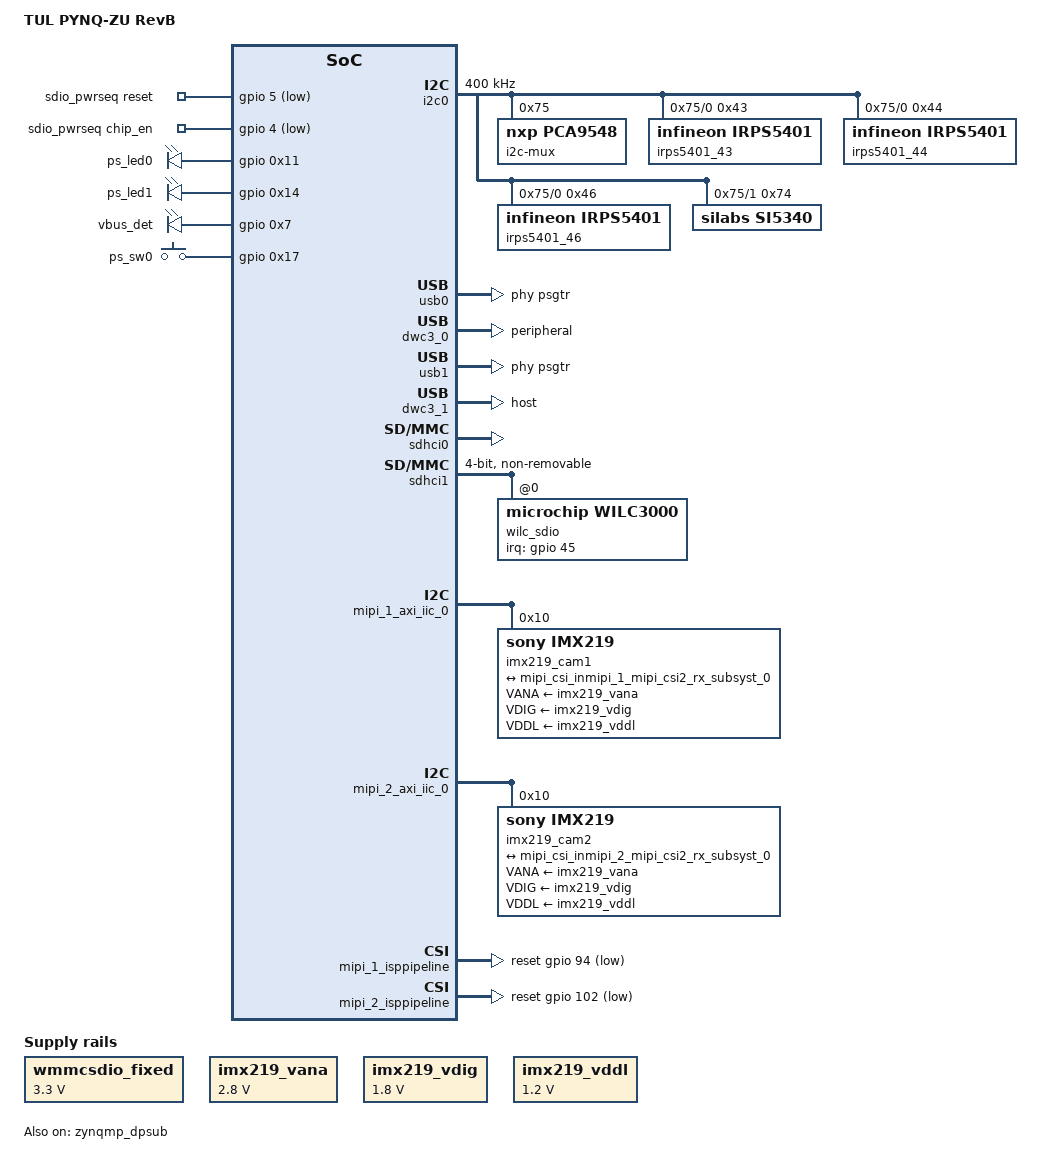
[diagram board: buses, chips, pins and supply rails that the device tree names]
// Copyright (C) 2021 Xilinx, Inc
// SPDX-License-Identifier: BSD-3-Clause

/include/ "system-conf.dtsi"
#include <dt-bindings/phy/phy.h>

/ {
	model = "TUL PYNQ-ZU RevB";

	reserved-memory {
		#address-cells = <2>;
		#size-cells = <2>;
		ranges;

		linux,cma {
			linux,cma-default;
			compatible = "shared-dma-pool";
			alloc-ranges = <0x0 0x0 0x0 0x7ff00000>;
			size = <0x0 0x20000000>;
			alignment = <0x0 0x2000>;
			reusable;
		};
	};

	wmmcsdio_fixed:fixedregulator-mmcsdio {
		compatible = "regulator-fixed";
		regulator-name = "wmmcsdio_fixed";
		regulator-min-microvolt = <3300000>;
		regulator-max-microvolt = <3300000>;
		regulator-always-on;
		regulator-boot-on;
	};

	sdio_pwrseq: sdio_pwrseq {
		compatible = "mmc-pwrseq-simple";
		// MIO[5] RESETN for WILC3000 active low
		reset-gpios = <&gpio 5 1>;
		// requires a patched pwrseq_simple.c for WILC3000
		chip_en-gpios = <&gpio 4 1>;
		post-power-on-delay-ms = <10>;
	};

	leds {
		compatible = "gpio-leds";

		ps_led0 {
			label = "ps_led0";
			gpios = <&gpio 0x11 0x0>;
			linux,default-trigger = "heartbeat";
		};

		ps_led1 {
			label = "ps_led1";
			gpios = <&gpio 0x14 0x0>;
			default-state = "on";
		};

		vbus_det {
			label = "vbus_det";
			gpios = <&gpio 0x7 0x0>;
			default-state = "on";
		};

	};

	gpio-keys {
		compatible = "gpio-keys";
		autorepeat;

		ps_sw0 {
			label = "ps_sw0";
			gpios = <&gpio 0x17 0x0>;
			linux,code = <0x74>;
			gpio-key,wakeup;
		};
	};

	dp_clk: psgtr_dp_clock {
		compatible = "fixed-clock";
		#clock-cells = <0x00>;
		clock-frequency = <27000000>;
	};

	usb_clk: psgtr_usb_clock {
		compatible = "fixed-clock";
		#clock-cells = <0x00>;
		clock-frequency = <26000000>;
	};

	dp_aclk: dp_aclk {
		compatible = "fixed-clock";
		#clock-cells = <0>;
		clock-frequency = <100000000>;
		clock-accuracy = <100>;
	};
	
	/* Repairing misc_clks as per Article number 000036480 */
	/delete-node/ misc_clk_0;
	misc_clk_0: misc_clk_0 {
		#clock-cells = <0>;
		clock-frequency = <99999000>;
		compatible = "fixed-clock";
	};

	/delete-node/ misc_clk_1;
	misc_clk_1: misc_clk_1 {
		#clock-cells = <0>;
		clock-frequency = <249997500>;
		compatible = "fixed-clock";
	};

	/delete-node/ misc_clk_2;
	misc_clk_2: misc_clk_2 {
		#clock-cells = <0>;
		clock-frequency = <199998000>;
		compatible = "fixed-clock";
	};
};

&i2c0 {
	status = "okay";
	clock-frequency = <400000>;

	i2c-mux@75 {
		compatible = "nxp,pca9548";
		#address-cells = <1>;
		#size-cells = <0>;
		reg = <0x75>;

		i2c@0 {
			#address-cells = <0x1>;
			#size-cells = <0x0>;
			reg = <0x0>;

			irps5401_43: irps5401@43 {
				#clock-cells = <0x0>;
				compatible = "infineon,irps5401";
				reg = <0x43>;
			};

			irps5401_44: irps5401@44 {
				#clock-cells = <0x0>;
				compatible = "infineon,irps5401";
				reg = <0x44>;
			};

			irps5401_46: irps5401@46 {
				#clock-cells = <0x0>;
				compatible = "infineon,irps5401";
				reg = <0x46>;
			};
		};

		i2c@1 {
			#address-cells = <0x1>;
			#size-cells = <0x0>;
			reg = <0x1>;
			si5340: clock-generator@74 {
				compatible = "silabs,si5340";
				reg = <0x74>;
			};
		};

		i2c@2 {
			#address-cells = <0x1>;
			#size-cells = <0x0>;
			reg = <0x2>;
			label = "AUDIO";
		};

		i2c@3 {
			#address-cells = <0x1>;
			#size-cells = <0x0>;
			reg = <0x3>;
			label = "RPICAM";
		};

		i2c@4 {
			#address-cells = <0x1>;
			#size-cells = <0x0>;
			reg = <0x4>;
			label = "SYZYGY";
		};

		i2c@5 {
			#address-cells = <0x1>;
			#size-cells = <0x0>;
			reg = <0x5>;
			label = "FMC";
		};

		i2c@6 {
			#address-cells = <0x1>;
			#size-cells = <0x0>;
			reg = <0x6>;
			label = "USB";
		};
	};
};

&psgtr {
	/* usb3, dp */
	#clock-cells = <0x01>;
	clocks = <&usb_clk>, <&dp_clk>;
	clock-names = "ref0", "ref1";
};

&usb0 {
	/* USB Gadget*/
	status = "okay";
	phys = <&psgtr 2 PHY_TYPE_USB3 0 0>;
	phy-names = "usb3-phy";
};

&dwc3_0 {
	status = "okay";
	dr_mode = "peripheral";
	label = "USB Gadget";
	maximum-speed = "super-speed";
	snps,usb2-lpm-disable;
	snps,usb3_lpm_capable;
	snps,dis_u2_susphy_quirk;
	snps,dis_u3_susphy_quirk;
};

&usb1 {
	// USB Hub
	status = "okay";
	phys = <&psgtr 3 PHY_TYPE_USB3 1 0>;
	phy-names = "usb3-phy";
};

&dwc3_1 {
	status = "okay";
	dr_mode = "host";
	label = "USB Hub";
	maximum-speed = "super-speed";
	snps,usb2-lpm-disable;
	snps,usb3_lpm_capable;
	snps,dis_u2_susphy_quirk;
	snps,dis_u3_susphy_quirk;
};

&sdhci0 {
	status = "okay";
	disable-wp;
	no-1-8-v;
};

&sdhci1 {
	status = "okay";
	max-frequency = <50000000>;
	broken-mmc-highspeed;
	disable-wp;
	non-removable;
	bus-width = <0x4>;
	mmc-pwrseq = <&sdio_pwrseq>;
	vqmmc-supply = <&wmmcsdio_fixed>;
	#address-cells = <0x1>;
	#size-cells = <0x0>;
	wilc_sdio@1 {
			compatible = "microchip,wilc3000";
			status = "okay";
			bus-width = <0x4>;
			reg = <0x0>;
			irq-gpios = <&gpio 45 0>;
		};
};

&zynqmp_dpsub {
    status = "okay";
    clocks = <&dp_aclk>,<&zynqmp_clk DP_AUDIO_REF>,<&zynqmp_clk DP_VIDEO_REF>,<&display_pipeline_clk_wiz_0 0>;
    clock-names = "dp_apb_clk", "dp_aud_clk","dp_vtc_pixel_clk_in","dp_live_video_in_clk";
    xlnx,bridge = <&display_pipeline_v_tc_0>;

    dp_port: port@0 {
        reg = <0>;
        dp_encoder: endpoint {
            remote-endpoint = <&mixer_crtcdisplay_pipeline_v_mix_0>;
        };
    };
};

&amba_pl {
	imx219_clk: imx219_clk {
		#clock-cells = <0x0>;
		clock-frequency = <24000000>;
		compatible = "fixed-clock";
	};

	imx219_vana: fixedregulator@3 {
		compatible = "regulator-fixed";
		regulator-name = "imx219_vana";
		regulator-min-microvolt = <2800000>;
		regulator-max-microvolt = <2800000>;
		enable-active-high;
	};

	imx219_vdig: fixedregulator@4 {
		compatible = "regulator-fixed";
		regulator-name = "imx219_vdig";
		regulator-min-microvolt = <1800000>;
		regulator-max-microvolt = <1800000>;
	};

	imx219_vddl: fixedregulator@5 {
		compatible = "regulator-fixed";
		regulator-name = "imx219_vddl";
		regulator-min-microvolt = <1200000>;
		regulator-max-microvolt = <1200000>;
	};
};

&mipi_1_axi_iic_0 {
	imx219_cam1: sensor@10 {
		compatible = "sony,imx219";
		reg = <0x10>;
		clocks = <&imx219_clk>;
		VANA-supply = <&imx219_vana>;   /* 2.8v */
		VDIG-supply = <&imx219_vdig>;   /* 1.8v */
		VDDL-supply = <&imx219_vddl>;   /* 1.2v */

		port {
		     imx219_cam1_0: endpoint {
			remote-endpoint = <&mipi_csi_inmipi_1_mipi_csi2_rx_subsyst_0>;
			data-lanes = <1 2>;
			link-frequencies = /bits/ 64 <456000000>;
			};
		};
	};
};

&mipi_2_axi_iic_0 {
	imx219_cam2: sensor@10 {
		compatible = "sony,imx219";
		reg = <0x10>;
		clocks = <&imx219_clk>;
		VANA-supply = <&imx219_vana>;   /* 2.8v */
		VDIG-supply = <&imx219_vdig>;   /* 1.8v */
		VDDL-supply = <&imx219_vddl>;   /* 1.2v */

		port {
		     imx219_cam2_0: endpoint {
			remote-endpoint = <&mipi_csi_inmipi_2_mipi_csi2_rx_subsyst_0>;
			data-lanes = <1 2>;
			link-frequencies = /bits/ 64 <456000000>;
			};
		};
	};
};

&mipi_1_mipi_csi2_rx_subsyst_0 {
	xlnx,en-active-lanes;
};

&mipi_2_mipi_csi2_rx_subsyst_0 {
	xlnx,en-active-lanes;
};

&mipi_csi_inmipi_1_mipi_csi2_rx_subsyst_0 {
	remote-endpoint = <&imx219_cam1_0>;
};

&mipi_csi_inmipi_2_mipi_csi2_rx_subsyst_0 {
	remote-endpoint = <&imx219_cam2_0>;
};

&mipi_1_isppipeline {
	reset-gpios = <&gpio 94 1>;
	xlnx,max-height = /bits/ 16 <1232>;
	xlnx,max-width = /bits/ 16 <1920>;
	xlnx,rgain = /bits/ 16 <128>;
	xlnx,bgain = /bits/ 16 <210>;
	xlnx,pawb = /bits/ 16 <350>;
	xlnx,mode-reg = <1>;
};

&isppipeline_port0mipi_1_isppipeline {
	xlnx,video-width = <10>;
	xlnx,cfa-pattern = "rggb";
};

&isppipeline_port1mipi_1_isppipeline {
	xlnx,video-width = <8>;
	xlnx,cfa-pattern = "rggb";
};

&mipi_2_isppipeline {
	reset-gpios = <&gpio 102 1>;
	xlnx,max-height = /bits/ 16 <1232>;
	xlnx,max-width = /bits/ 16 <1920>;
	xlnx,rgain = /bits/ 16 <128>;
	xlnx,bgain = /bits/ 16 <210>;
	xlnx,pawb = /bits/ 16 <350>;
	xlnx,mode-reg = <1>;
};

&isppipeline_port0mipi_2_isppipeline {
	xlnx,video-width = <10>;
	xlnx,cfa-pattern = "rggb";
};

&isppipeline_port1mipi_2_isppipeline {
	xlnx,video-width = <8>;
	xlnx,cfa-pattern = "rggb";
};

&mipi_1_v_proc {
	compatible = "xlnx,v-vpss-scaler-2.2";
};

&mipi_2_v_proc {
	compatible = "xlnx,v-vpss-scaler-2.2";
};

&display_pipeline_clk_wiz_0 {
	#address-cells = <2>;
};

&mixer_crtcdisplay_pipeline_v_mix_0 {
	remote-endpoint = <&dp_encoder>;
};

&display_pipeline_v_mix_0 {
	xlnx,disp-bridge = <&zynqmp_dpsub>;
};

&display_pipeline_v_tc_0 {
	compatible = "xlnx,bridge-v-tc-6.1";
	xlnx,pixels-per-clock = <1>;
};

&mipi_csi_port1mipi_1_mipi_csi2_rx_subsyst_0 {
	xlnx,cfa-pattern = "rggb";
	xlnx,video-format = <12>;
	xlnx,video-width = <8>;
};

&mipi_csi_port0mipi_1_mipi_csi2_rx_subsyst_0 {
	xlnx,cfa-pattern = "rggb";
	xlnx,video-format = <12>;
	xlnx,video-width = <8>;
};

&mipi_csi_port1mipi_2_mipi_csi2_rx_subsyst_0 {
	xlnx,cfa-pattern = "rggb";
	xlnx,video-format = <12>;
	xlnx,video-width = <8>;
};

&mipi_csi_port0mipi_2_mipi_csi2_rx_subsyst_0 {
	xlnx,cfa-pattern = "rggb";
	xlnx,video-format = <12>;
	xlnx,video-width = <8>;
};

